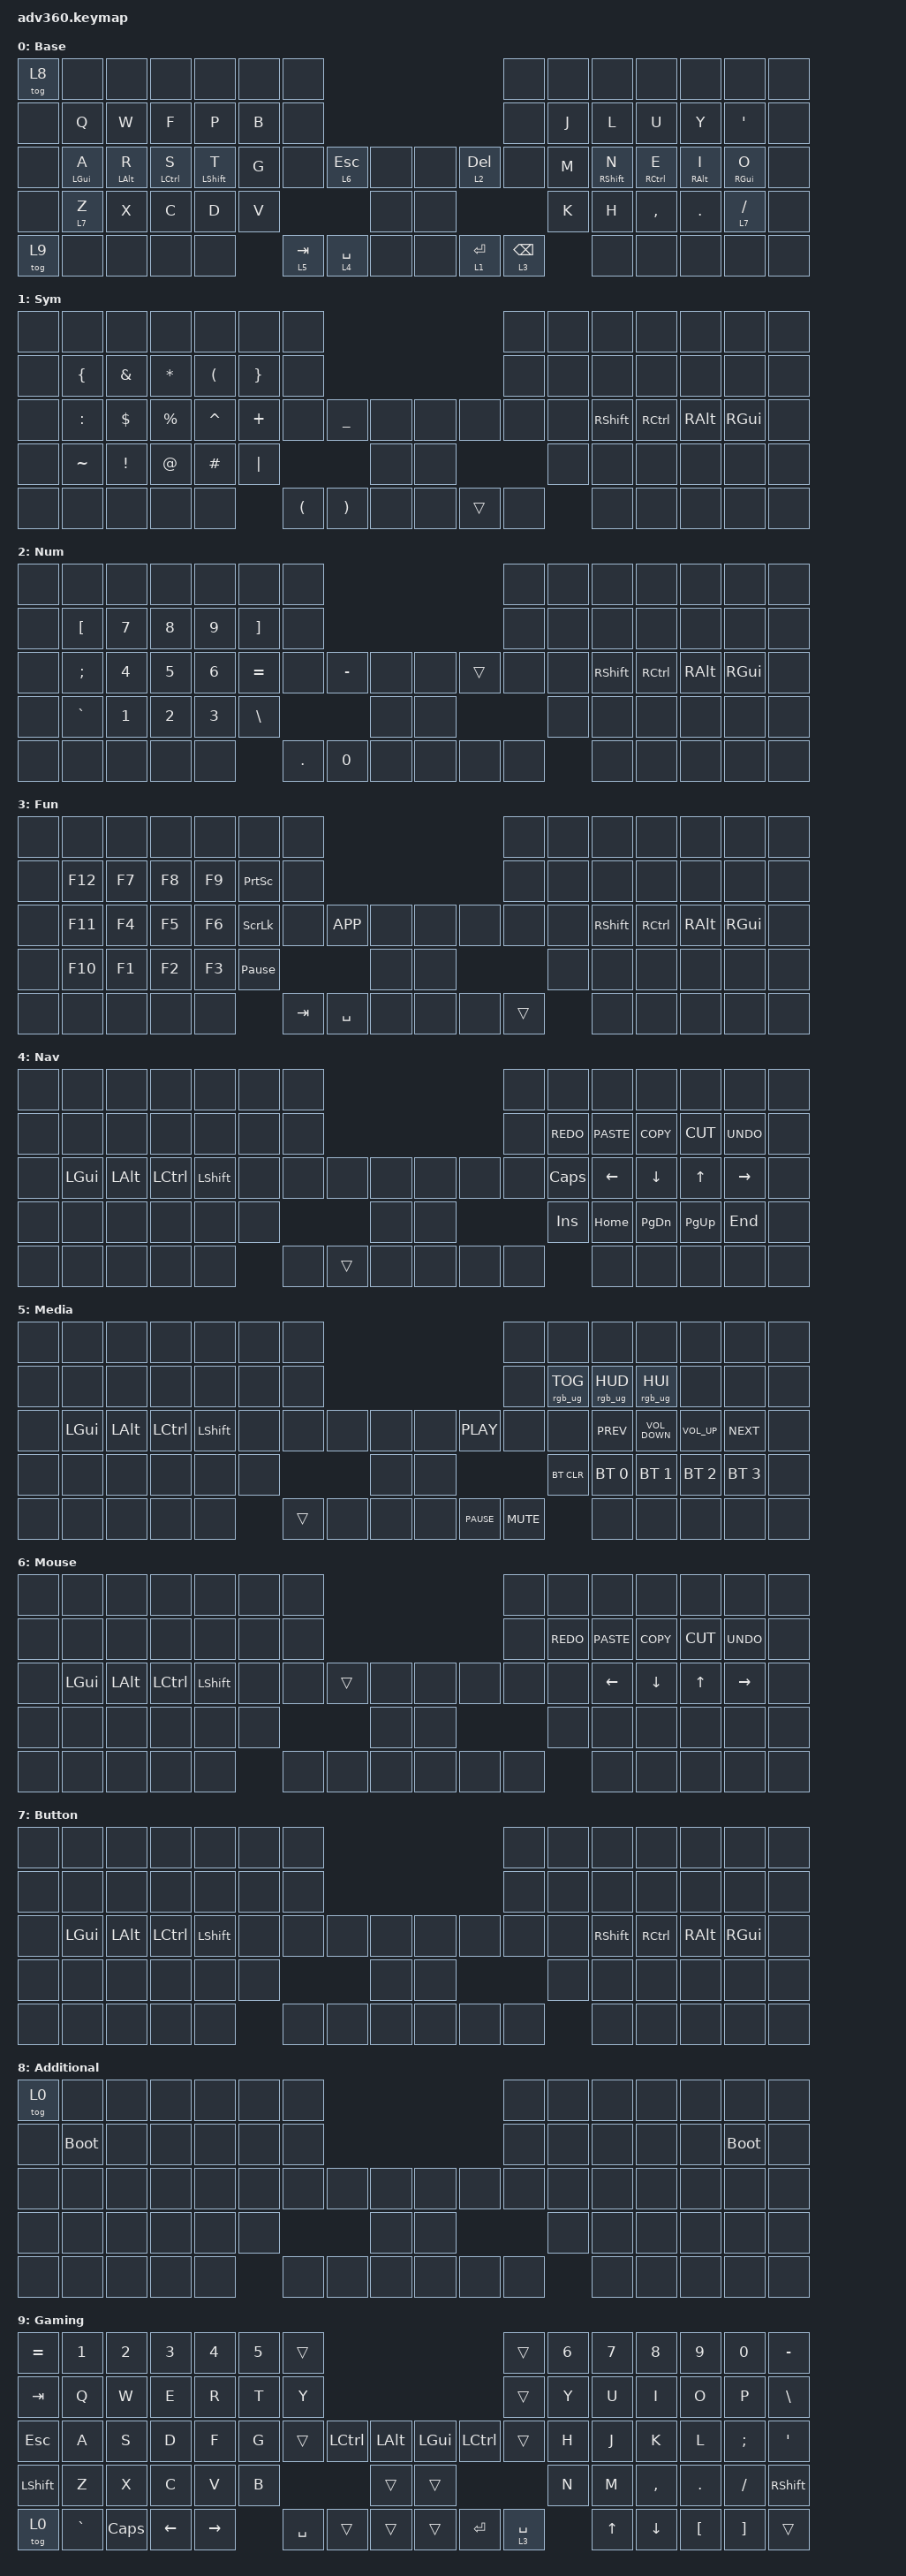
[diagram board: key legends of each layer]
/*
 * Copyright (c) 2020 The ZMK Contributors
 *
 * SPDX-License-Identifier: MIT
 */
/* THIS FILE WAS GENERATED!
 *
 * This file was generated automatically. You may or may not want to
 * edit it directly.
 */

#include <behaviors.dtsi>
#include <dt-bindings/zmk/bt.h>
#include <dt-bindings/zmk/keys.h>
#include <dt-bindings/zmk/rgb.h>

/ {
    behaviors {
        #include "macros.dtsi"
    #include "version.dtsi"

        u_mt: u_mt {
            compatible = "zmk,behavior-hold-tap";
            label = "U_MT";
            bindings = <&kp>, <&kp>;

            #binding-cells = <2>;
            tapping-term-ms = <200>;
            flavor = "tap-preferred";
        };

        u_lt: u_lt {
            compatible = "zmk,behavior-hold-tap";
            label = "U_LT";
            bindings = <&mo>, <&kp>;

            #binding-cells = <2>;
            tapping-term-ms = <200>;
            flavor = "tap-preferred";
        };
    };

    keymap {
        compatible = "zmk,keymap";

        Base {
            bindings = <
&tog 8  &none             &none             &none          &none               &none  &none                                                      &none              &none  &none           &none          &none              &none           &none
&none   &kp Q             &kp W             &kp F          &kp P               &kp B  &none                                                      &none              &kp J  &kp L           &kp U          &kp Y              &kp APOSTROPHE  &none
&none   &u_mt LEFT_GUI A  &u_mt LEFT_ALT R  &u_mt LCTRL S  &u_mt LEFT_SHIFT T  &kp G  &none      &lt 6 ESCAPE  &none      &none  &u_lt 2 DELETE  &none              &kp M  &u_mt RSHIFT N  &u_mt RCTRL E  &u_mt RIGHT_ALT I  &u_mt RGUI O    &none
&none   &u_lt 7 Z         &kp X             &kp C          &kp D               &kp V                           &none      &none                                     &kp K  &kp H           &kp COMMA      &kp DOT            &u_lt 7 SLASH   &none
&tog 9  &none             &none             &none          &none                      &lt 5 TAB  &lt 4 SPACE   &none      &none  &u_lt 1 ENTER   &u_lt 3 BACKSPACE         &none           &none          &none              &none           &none
            >;
        };

        Sym {
            bindings = <
&none  &none           &none            &none         &none                 &none            &none                                                                  &none  &none  &none            &none      &none     &none     &none
&none  &kp LEFT_BRACE  &kp AMPERSAND    &kp ASTERISK  &kp LEFT_PARENTHESIS  &kp RIGHT_BRACE  &none                                                                  &none  &none  &none            &none      &none     &none     &none
&none  &kp COLON       &kp DOLLAR       &kp PERCENT   &kp CARET             &kp PLUS         &none                 &kp UNDER              &none      &none  &none   &none  &none  &kp RIGHT_SHIFT  &kp RCTRL  &kp RALT  &kp RGUI  &none
&none  &kp TILDE       &kp EXCLAMATION  &kp AT_SIGN   &kp HASH              &kp PIPE                                                      &none      &none                 &none  &none            &none      &none     &none     &none
&none  &none           &none            &none         &none                                  &kp LEFT_PARENTHESIS  &kp RIGHT_PARENTHESIS  &none      &none  &trans  &none         &none            &none      &none     &none     &none
            >;
        };

        Num {
            bindings = <
&none  &none      &none   &none   &none   &none      &none                                         &none  &none  &none      &none      &none     &none     &none
&none  &kp LBKT   &kp N7  &kp N8  &kp N9  &kp RBKT   &none                                         &none  &none  &none      &none      &none     &none     &none
&none  &kp SEMI   &kp N4  &kp N5  &kp N6  &kp EQUAL  &none    &kp MINUS  &none      &none  &trans  &none  &none  &kp RSHFT  &kp RCTRL  &kp RALT  &kp RGUI  &none
&none  &kp GRAVE  &kp N1  &kp N2  &kp N3  &kp BSLH                       &none      &none                 &none  &none      &none      &none     &none     &none
&none  &none      &none   &none   &none              &kp DOT  &kp N0     &none      &none  &none   &none         &none      &none      &none     &none     &none
            >;
        };

        Fun {
            bindings = <
&none  &none    &none   &none   &none   &none            &none                                        &none   &none  &none      &none      &none     &none     &none
&none  &kp F12  &kp F7  &kp F8  &kp F9  &kp PRINTSCREEN  &none                                        &none   &none  &none      &none      &none     &none     &none
&none  &kp F11  &kp F4  &kp F5  &kp F6  &kp SCROLLLOCK   &none    &kp K_APP  &none      &none  &none  &none   &none  &kp RSHFT  &kp RCTRL  &kp RALT  &kp RGUI  &none
&none  &kp F10  &kp F1  &kp F2  &kp F3  &kp PAUSE_BREAK                      &none      &none                 &none  &none      &none      &none     &none     &none
&none  &none    &none   &none   &none                    &kp TAB  &kp SPACE  &none      &none  &none  &trans         &none      &none      &none     &none     &none
            >;
        };

        Nav {
            bindings = <
&none  &none     &none     &none      &none      &none  &none                                   &none  &none         &none           &none           &none         &none            &none
&none  &none     &none     &none      &none      &none  &none                                   &none  &kp K_REDO    &kp K_PASTE     &kp K_COPY      &kp K_CUT     &kp K_UNDO       &none
&none  &kp LGUI  &kp LALT  &kp LCTRL  &kp LSHFT  &none  &none  &none   &none      &none  &none  &none  &kp CAPSLOCK  &kp LEFT_ARROW  &kp DOWN_ARROW  &kp UP_ARROW  &kp RIGHT_ARROW  &none
&none  &none     &none     &none      &none      &none                 &none      &none                &kp INSERT    &kp HOME        &kp PAGE_DOWN   &kp PAGE_UP   &kp END          &none
&none  &none     &none     &none      &none             &none  &trans  &none      &none  &none  &none                &none           &none           &none         &none            &none
            >;
        };

        Media {
            bindings = <
&none  &none     &none     &none      &none      &none  &none                                         &none       &none            &none            &none              &none            &none         &none
&none  &none     &none     &none      &none      &none  &none                                         &none       &rgb_ug RGB_TOG  &rgb_ug RGB_HUD  &rgb_ug RGB_HUI    &none            &none         &none
&none  &kp LGUI  &kp LALT  &kp LCTRL  &kp LSHFT  &none  &none   &none  &none      &none  &kp C_PLAY   &none       &none            &kp C_PREV       &kp C_VOLUME_DOWN  &kp C_VOLUME_UP  &kp C_NEXT    &none
&none  &none     &none     &none      &none      &none                 &none      &none                           &bt BT_CLR       &bt BT_SEL 0     &bt BT_SEL 1       &bt BT_SEL 2     &bt BT_SEL 3  &none
&none  &none     &none     &none      &none             &trans  &none  &none      &none  &kp C_PAUSE  &kp C_MUTE                   &none            &none              &none            &none         &none
            >;
        };

        Mouse {
            bindings = <
&none  &none     &none     &none      &none      &none  &none                                   &none  &none       &none           &none       &none      &none       &none
&none  &none     &none     &none      &none      &none  &none                                   &none  &kp K_REDO  &kp K_PASTE     &kp K_COPY  &kp K_CUT  &kp K_UNDO  &none
&none  &kp LGUI  &kp LALT  &kp LCTRL  &kp LSHFT  &none  &none  &trans  &none      &none  &none  &none  &none       &kp LEFT_ARROW  &kp DOWN    &kp UP     &kp RIGHT   &none
&none  &none     &none     &none      &none      &none                 &none      &none                &none       &none           &none       &none      &none       &none
&none  &none     &none     &none      &none             &none  &none   &none      &none  &none  &none              &none           &none       &none      &none       &none
            >;
        };

        Button {
            bindings = <
&none  &none     &none     &none      &none      &none  &none                                  &none  &none  &none      &none      &none     &none     &none
&none  &none     &none     &none      &none      &none  &none                                  &none  &none  &none      &none      &none     &none     &none
&none  &kp LGUI  &kp LALT  &kp LCTRL  &kp LSHFT  &none  &none  &none  &none      &none  &none  &none  &none  &kp RSHFT  &kp RCTRL  &kp RALT  &kp RGUI  &none
&none  &none     &none     &none      &none      &none                &none      &none                &none  &none      &none      &none     &none     &none
&none  &none     &none     &none      &none             &none  &none  &none      &none  &none  &none         &none      &none      &none     &none     &none
            >;
        };

        Additional {
            bindings = <
&tog 0  &none        &none  &none  &none  &none  &none                                  &none  &none  &none  &none  &none  &none        &none
&none   &bootloader  &none  &none  &none  &none  &none                                  &none  &none  &none  &none  &none  &bootloader  &none
&none   &none        &none  &none  &none  &none  &none  &none  &none      &none  &none  &none  &none  &none  &none  &none  &none        &none
&none   &none        &none  &none  &none  &none                &none      &none                &none  &none  &none  &none  &none        &none
&none   &none        &none  &none  &none         &none  &none  &none      &none  &none  &none         &none  &none  &none  &none        &none
            >;
        };

        Gaming {
            bindings = <
&kp EQUAL  &kp N1     &kp N2    &kp N3    &kp N4     &kp N5  &trans                                                   &trans       &kp N6  &kp N7  &kp N8     &kp N9    &kp N0    &kp MINUS
&kp TAB    &kp Q      &kp W     &kp E     &kp R      &kp T   &kp Y                                                    &trans       &kp Y   &kp U   &kp I      &kp O     &kp P     &kp BSLH
&kp ESC    &kp A      &kp S     &kp D     &kp F      &kp G   &trans     &kp LCTRL  &kp LALT      &kp LGUI  &kp LCTRL  &trans       &kp H   &kp J   &kp K      &kp L     &kp SEMI  &kp SQT
&kp LSHFT  &kp Z      &kp X     &kp C     &kp V      &kp B                         &trans        &trans                            &kp N   &kp M   &kp COMMA  &kp DOT   &kp FSLH  &kp RSHFT
&tog 0     &kp GRAVE  &kp CAPS  &kp LEFT  &kp RIGHT          &kp SPACE  &trans     &trans        &trans    &kp RET    &lt 3 SPACE          &kp UP  &kp DOWN   &kp LBKT  &kp RBKT  &trans
            >;
        };
    };
};
